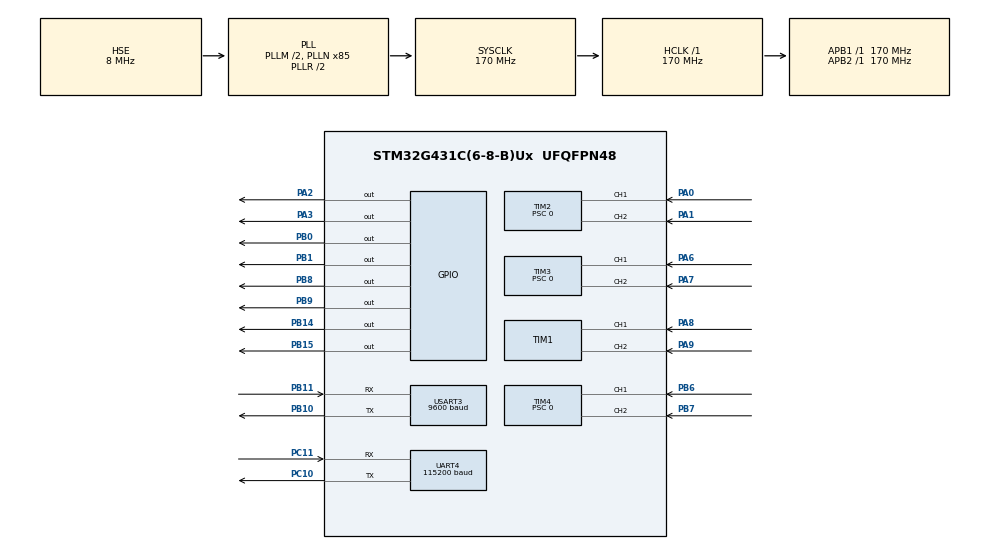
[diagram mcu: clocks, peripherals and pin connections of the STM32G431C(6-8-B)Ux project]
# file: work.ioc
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Dma.Request0=USART3_RX
Dma.Request1=USART3_TX
Dma.Request2=UART4_RX
Dma.Request3=UART4_TX
Dma.UART4_RX.2.Direction=DMA_PERIPH_TO_MEMORY
Dma.UART4_RX.2.EventEnable=DISABLE
Dma.UART4_RX.2.Instance=DMA1_Channel3
Dma.UART4_RX.2.MemDataAlignment=DMA_MDATAALIGN_BYTE
Dma.UART4_RX.2.MemInc=DMA_MINC_ENABLE
Dma.UART4_RX.2.Mode=DMA_NORMAL
Dma.UART4_RX.2.PeriphDataAlignment=DMA_PDATAALIGN_BYTE
Dma.UART4_RX.2.PeriphInc=DMA_PINC_DISABLE
Dma.UART4_RX.2.Polarity=HAL_DMAMUX_REQ_GEN_RISING
Dma.UART4_RX.2.Priority=DMA_PRIORITY_LOW
Dma.UART4_RX.2.RequestNumber=1
Dma.UART4_RX.2.SignalID=NONE
Dma.UART4_RX.2.SyncEnable=DISABLE
Dma.UART4_RX.2.SyncPolarity=HAL_DMAMUX_SYNC_NO_EVENT
Dma.UART4_RX.2.SyncRequestNumber=1
Dma.UART4_RX.2.SyncSignalID=NONE
Dma.UART4_TX.3.Direction=DMA_MEMORY_TO_PERIPH
Dma.UART4_TX.3.EventEnable=DISABLE
Dma.UART4_TX.3.Instance=DMA1_Channel4
Dma.UART4_TX.3.MemDataAlignment=DMA_MDATAALIGN_BYTE
Dma.UART4_TX.3.MemInc=DMA_MINC_ENABLE
Dma.UART4_TX.3.Mode=DMA_NORMAL
Dma.UART4_TX.3.PeriphDataAlignment=DMA_PDATAALIGN_BYTE
Dma.UART4_TX.3.PeriphInc=DMA_PINC_DISABLE
Dma.UART4_TX.3.Polarity=HAL_DMAMUX_REQ_GEN_RISING
Dma.UART4_TX.3.Priority=DMA_PRIORITY_LOW
Dma.UART4_TX.3.RequestNumber=1
Dma.UART4_TX.3.SignalID=NONE
Dma.UART4_TX.3.SyncEnable=DISABLE
Dma.UART4_TX.3.SyncPolarity=HAL_DMAMUX_SYNC_NO_EVENT
Dma.UART4_TX.3.SyncRequestNumber=1
Dma.UART4_TX.3.SyncSignalID=NONE
Dma.USART3_RX.0.Direction=DMA_PERIPH_TO_MEMORY
Dma.USART3_RX.0.EventEnable=DISABLE
Dma.USART3_RX.0.Instance=DMA1_Channel1
Dma.USART3_RX.0.MemDataAlignment=DMA_MDATAALIGN_BYTE
Dma.USART3_RX.0.MemInc=DMA_MINC_ENABLE
Dma.USART3_RX.0.Mode=DMA_NORMAL
Dma.USART3_RX.0.PeriphDataAlignment=DMA_PDATAALIGN_BYTE
Dma.USART3_RX.0.PeriphInc=DMA_PINC_DISABLE
Dma.USART3_RX.0.Polarity=HAL_DMAMUX_REQ_GEN_RISING
Dma.USART3_RX.0.Priority=DMA_PRIORITY_LOW
Dma.USART3_RX.0.RequestNumber=1
Dma.USART3_RX.0.SignalID=NONE
Dma.USART3_RX.0.SyncEnable=DISABLE
Dma.USART3_RX.0.SyncPolarity=HAL_DMAMUX_SYNC_NO_EVENT
Dma.USART3_RX.0.SyncRequestNumber=1
Dma.USART3_RX.0.SyncSignalID=NONE
Dma.USART3_TX.1.Direction=DMA_MEMORY_TO_PERIPH
Dma.USART3_TX.1.EventEnable=DISABLE
Dma.USART3_TX.1.Instance=DMA1_Channel2
Dma.USART3_TX.1.MemDataAlignment=DMA_MDATAALIGN_BYTE
Dma.USART3_TX.1.MemInc=DMA_MINC_ENABLE
Dma.USART3_TX.1.Mode=DMA_NORMAL
Dma.USART3_TX.1.PeriphDataAlignment=DMA_PDATAALIGN_BYTE
Dma.USART3_TX.1.PeriphInc=DMA_PINC_DISABLE
Dma.USART3_TX.1.Polarity=HAL_DMAMUX_REQ_GEN_RISING
Dma.USART3_TX.1.Priority=DMA_PRIORITY_LOW
Dma.USART3_TX.1.RequestNumber=1
Dma.USART3_TX.1.SignalID=NONE
Dma.USART3_TX.1.SyncEnable=DISABLE
Dma.USART3_TX.1.SyncPolarity=HAL_DMAMUX_SYNC_NO_EVENT
Dma.USART3_TX.1.SyncRequestNumber=1
Dma.USART3_TX.1.SyncSignalID=NONE
Mcu.Family=STM32G4
Mcu.Name=STM32G431C(6-8-B)Ux
Mcu.Package=UFQFPN48
NVIC.DMA1_Channel1_IRQn=true\:0\:0\:false\:false\:true\:false\:true\:true
NVIC.DMA1_Channel2_IRQn=true\:0\:0\:false\:false\:true\:false\:true\:true
NVIC.DMA1_Channel3_IRQn=true\:0\:0\:false\:false\:true\:false\:true\:true
NVIC.DMA1_Channel4_IRQn=true\:0\:0\:false\:false\:true\:false\:true\:true
NVIC.PriorityGroup=NVIC_PRIORITYGROUP_4
NVIC.TIM6_DAC_IRQn=true\:0\:0\:false\:false\:true\:true\:true\:true
NVIC.TIM7_IRQn=true\:0\:0\:false\:false\:true\:true\:true\:true
NVIC.UART4_IRQn=true\:0\:0\:false\:false\:true\:true\:true\:true
NVIC.USART3_IRQn=true\:0\:0\:false\:false\:true\:true\:true\:true
PA0.Signal=S_TIM2_CH1
PA1.Signal=S_TIM2_CH2
PA13.Mode=Serial_Wire
PA13.Signal=SYS_JTMS-SWDIO
PA14.Mode=Serial_Wire
PA14.Signal=SYS_JTCK-SWCLK
PA2.Signal=GPIO_Output
PA3.Signal=GPIO_Output
PA6.Signal=S_TIM3_CH1
PA7.Signal=S_TIM3_CH2
PA8.Signal=S_TIM1_CH1
PA9.Signal=S_TIM1_CH2
PB0.Signal=GPIO_Output
PB1.Signal=GPIO_Output
PB10.Mode=Asynchronous
PB10.Signal=USART3_TX
PB11.Mode=Asynchronous
PB11.Signal=USART3_RX
PB14.Signal=GPIO_Output
PB15.Signal=GPIO_Output
PB6.Signal=S_TIM4_CH1
PB7.Signal=S_TIM4_CH2
PB8-BOOT0.Signal=GPIO_Output
PB9.Signal=GPIO_Output
PC10.Mode=Asynchronous
PC10.Signal=UART4_TX
PC11.Mode=Asynchronous
PC11.Signal=UART4_RX
PF0-OSC_IN.Mode=HSE-External-Oscillator
PF0-OSC_IN.Signal=RCC_OSC_IN
PF1-OSC_OUT.Mode=HSE-External-Oscillator
PF1-OSC_OUT.Signal=RCC_OSC_OUT
ProjectManager.HeapSize=0x200
ProjectManager.StackSize=0x400
ProjectManager.TargetToolchain=MDK-ARM V5.32
RCC.ADC12Freq_Value=170000000
RCC.AHBFreq_Value=170000000
RCC.APB1Freq_Value=170000000
RCC.APB1TimFreq_Value=170000000
RCC.APB2Freq_Value=170000000
RCC.APB2TimFreq_Value=170000000
RCC.CortexFreq_Value=170000000
RCC.EXTERNAL_CLOCK_VALUE=12288000
RCC.HCLKFreq_Value=170000000
RCC.HSE_VALUE=8000000
RCC.HSI48_VALUE=48000000
RCC.HSI_VALUE=16000000
RCC.LSE_VALUE=32768
RCC.PLLM=RCC_PLLM_DIV2
RCC.PLLN=85
RCC.PLLSourceVirtual=RCC_PLLSOURCE_HSE
RCC.SYSCLKFreq_VALUE=170000000
RCC.SYSCLKSource=RCC_SYSCLKSOURCE_PLLCLK
RCC.USBFreq_Value=170000000
RCC.VCOOutputFreq_Value=340000000
SH.S_TIM1_CH1.0=TIM1_CH1,Encoder_Interface
SH.S_TIM1_CH2.0=TIM1_CH2,Encoder_Interface
SH.S_TIM2_CH1.0=TIM2_CH1,Encoder_Interface
SH.S_TIM2_CH2.0=TIM2_CH2,Encoder_Interface
SH.S_TIM3_CH1.0=TIM3_CH1,Encoder_Interface
SH.S_TIM3_CH2.0=TIM3_CH2,Encoder_Interface
SH.S_TIM4_CH1.0=TIM4_CH1,Encoder_Interface
SH.S_TIM4_CH2.0=TIM4_CH2,Encoder_Interface
TIM15.PeriodNoDither=99
TIM15.Prescaler=1699
TIM2.EncoderMode=TIM_ENCODERMODE_TI1
TIM2.IC1Polarity=TIM_ICPOLARITY_RISING
TIM2.PeriodNoDither=65535
TIM2.Prescaler=0
TIM3.PeriodNoDither=65535
TIM3.Prescaler=0
TIM4.EncoderMode=TIM_ENCODERMODE_TI1
TIM4.IC1Polarity=TIM_ICPOLARITY_FALLING
TIM4.PeriodNoDither=65535
TIM4.Prescaler=0
TIM6.PeriodNoDither=1000-1
TIM6.Prescaler=17-1
TIM7.PeriodNoDither=100-1
TIM7.Prescaler=17000-1
UART4.BaudRate=115200
USART3.BaudRate=9600
USART3.VirtualMode-Asynchronous=VM_ASYNC
VP_SYS_VS_DBSignals.Mode=DisableDeadBatterySignals
VP_TIM15_VS_ClockSourceINT.Mode=Internal
VP_TIM17_VS_ClockSourceINT.Mode=Enable_Timer
VP_TIM6_VS_ClockSourceINT.Mode=Enable_Timer
VP_TIM7_VS_ClockSourceINT.Mode=Enable_Timer
board=custom

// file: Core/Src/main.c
/* USER CODE BEGIN Header */
/**
  ******************************************************************************
  * @file           : main.c
  * @brief          : Main program body
  ******************************************************************************
  * @attention
  *
  * Copyright (c) 2025 STMicroelectronics.
  * All rights reserved.
  *
  * This software is licensed under terms that can be found in the LICENSE file
  * in the root directory of this software component.
  * If no LICENSE file comes with this software, it is provided AS-IS.
  *
  ******************************************************************************
  */
/* USER CODE END Header */
#include "main.h"
#include "dma.h"
#include "tim.h"
#include "usart.h"
#include "gpio.h"

/* USER CODE BEGIN Includes */
#include "MW_Control.h"
#include "bt_control.h"
#include "string.h"
#include "stdio.h"
#include "simpwm.h"
#include "pid.h"
#include "encoder.h"
/* USER CODE END Includes */

/* USER CODE BEGIN PV */
char msg,temp[100];
Bt_Data_Typedef rx_data;
PWM_Typedef motorA1,motorA2,motorB1,motorB2;
int encoder;
ENC_Typedef encoderA1,encoderA2,encoderB1,encoderB2;
PID_Typedef pidA1,pidA2,pidB1,pidB2;
/* USER CODE END PV */

void SystemClock_Config(void);

/* USER CODE BEGIN 0 */
void HAL_UART_RxCpltCallback(UART_HandleTypeDef *huart){

	if(huart == BT_UART){
		if(BT_Read(msg, &rx_data)){
		//	char buffer[50];
		//	sprintf(buffer,"X%d,Y%d,Turn%d",rx_data.x,rx_data.y,rx_data.turn);
		//	HAL_UART_Transmit(&huart4,(uint8_t *)buffer,strlen(buffer),HAL_MAX_DELAY);
//			BT_Compute(&rx_data);
//			sprintf(temp,"%d,%d\n",rx_data.x,rx_data.y);
//			HAL_UART_Transmit_DMA(&huart4,(uint8_t *)temp,strlen(temp));
			MW_Control(rx_data);
		}
		HAL_UART_Receive_DMA(BT_UART,(uint8_t *)&msg,1);

	}
}
void HAL_TIM_PeriodElapsedCallback(TIM_HandleTypeDef *htim){
	if(htim == &htim7){
		ENC_Get(&encoderA1);
		ENC_Get(&encoderA2);
		ENC_Get(&encoderB1);
		ENC_Get(&encoderB2);
		if(encoderA1.encoder > 30000) encoderA1.encoder = encoderA1.encoder - 65535;
		if(encoderA2.encoder > 30000) encoderA2.encoder = encoderA2.encoder - 65535;
		if(encoderB1.encoder > 30000) encoderB1.encoder = encoderB1.encoder - 65535;
		if(encoderB2.encoder > 30000) encoderB2.encoder = encoderB2.encoder - 65535;
		__HAL_TIM_SET_COUNTER(encoderA1.enc_tim,0);
		__HAL_TIM_SET_COUNTER(encoderA2.enc_tim,0);
		__HAL_TIM_SET_COUNTER(encoderB1.enc_tim,0);
		__HAL_TIM_SET_COUNTER(encoderB2.enc_tim,0);
		encoderA1.speed = encoderA1.encoder * 100.0f * 60 /1560.0f;
		encoderA2.speed = encoderA2.encoder * 100.0f * 60 /1560.0f;
		encoderB1.speed = encoderB1.encoder * 100.0f * 60 /1560.0f;
		encoderB2.speed = encoderB2.encoder * 100.0f * 60 /1560.0f;
		encoderA1.encoder = 0;
		encoderA2.encoder = 0;
		encoderB1.encoder = 0;
		encoderB2.encoder = 0;
		PID_Compute(&pidA1,encoderA1.speed);
		PID_Compute(&pidA2,encoderA2.speed);
		PID_Compute(&pidB1,encoderB1.speed);
		PID_Compute(&pidB2,encoderB2.speed);

		if(pidA1.output > 0) SIMPWM_SET_CRR(&motorA1,pidA1.output,0);
		else SIMPWM_SET_CRR(&motorA1,0,-pidA1.output);

		if(pidA2.output >= 0) SIMPWM_SET_CRR(&motorA2,pidA2.output,0);
		else SIMPWM_SET_CRR(&motorA2,0,-pidA2.output);

		if(pidB1.output >= 0) SIMPWM_SET_CRR(&motorB1,pidB1.output,0);
		else SIMPWM_SET_CRR(&motorB1,0,-pidB1.output);

		if(pidB2.output >= 0) SIMPWM_SET_CRR(&motorB2,pidB2.output,0);
		else SIMPWM_SET_CRR(&motorB2,0,-pidB2.output);

		sprintf(temp,"%.2f,%.2f,%.2f\n",encoderA1.speed,pidA1.setpoint,pidA2.integral);
		HAL_UART_Transmit_DMA(&huart4,(uint8_t *)temp,strlen(temp));
	}
}
/* USER CODE END 0 */

int main(void)
{

  /* MCU Configuration--------------------------------------------------------*/

  /* Reset of all peripherals, Initializes the Flash interface and the Systick. */
  HAL_Init();

  /* Configure the system clock */
  SystemClock_Config();

  /* Initialize all configured peripherals */
  MX_GPIO_Init();
  MX_DMA_Init();
  MX_TIM1_Init();
  MX_TIM2_Init();
  MX_TIM3_Init();
  MX_TIM4_Init();
  MX_TIM15_Init();
  MX_TIM6_Init();
  MX_TIM7_Init();
  MX_TIM17_Init();
  MX_USART3_UART_Init();
  MX_UART4_Init();
  /* USER CODE BEGIN 2 */
	//MW_Init();
	char a[] = "Hello";
	HAL_UART_Transmit(&huart4,(uint8_t *)a,strlen(a),HAL_MAX_DELAY);
	BT_Init();
	ENC_Init(&encoderA1,&htim1);
	ENC_Init(&encoderA2,&htim4);
	ENC_Init(&encoderB1,&htim3);
	ENC_Init(&encoderB2,&htim2);
	PID_Init(&pidA1,27.f,0.f,0.f,0.01f,1000.f,999.f);
	PID_Init(&pidA2,10.f,0.f,0.f,0.01f,700.f,999.f);
	PID_Init(&pidB1,0.f,0.f,0.f,0.01f,700.f,999.f);
	PID_Init(&pidB2,0.f,0.f,0.f,0.01f,700.f,999.f);
	HAL_TIM_Base_Start_IT(&htim7);
	SIMPWM_Init(&motorA1,0,0,GPIOB,GPIO_PIN_14,GPIOB,GPIO_PIN_15);
	SIMPWM_Init(&motorA2,0,0,GPIOB,GPIO_PIN_9,GPIOB,GPIO_PIN_8);
	SIMPWM_Init(&motorB1,0,0,GPIOB,GPIO_PIN_0,GPIOB,GPIO_PIN_1);
	SIMPWM_Init(&motorB2,0,0,GPIOA,GPIO_PIN_2,GPIOA,GPIO_PIN_3);
//	__HAL_TIM_SET_COMPARE(MORTOR_B1,MORTOR_B1_IN1,50);
//	__HAL_TIM_SET_COMPARE(MORTOR_B1,MORTOR_B1_IN2,50);
	HAL_UART_Receive_DMA(BT_UART,(uint8_t *)&msg,1);

  /* USER CODE END 2 */

  /* Infinite loop */
  /* USER CODE BEGIN WHILE */
  while (1)
  {
		SIMPWM_Run(&motorA1,__HAL_TIM_GET_COUNTER(&htim6));
		SIMPWM_Run(&motorA2,__HAL_TIM_GET_COUNTER(&htim6));
		SIMPWM_Run(&motorB1,__HAL_TIM_GET_COUNTER(&htim6));
		SIMPWM_Run(&motorB2,__HAL_TIM_GET_COUNTER(&htim6));
    /* USER CODE END WHILE */

  }
}

void SystemClock_Config(void)
{
  RCC_OscInitTypeDef RCC_OscInitStruct = {0};
  RCC_ClkInitTypeDef RCC_ClkInitStruct = {0};

  /** Configure the main internal regulator output voltage
  */
  HAL_PWREx_ControlVoltageScaling(PWR_REGULATOR_VOLTAGE_SCALE1_BOOST);

  /** Initializes the RCC Oscillators according to the specified parameters
  * in the RCC_OscInitTypeDef structure.
  */
  RCC_OscInitStruct.OscillatorType = RCC_OSCILLATORTYPE_HSE;
  RCC_OscInitStruct.HSEState = RCC_HSE_ON;
  RCC_OscInitStruct.PLL.PLLState = RCC_PLL_ON;
  RCC_OscInitStruct.PLL.PLLSource = RCC_PLLSOURCE_HSE;
  RCC_OscInitStruct.PLL.PLLM = RCC_PLLM_DIV2;
  RCC_OscInitStruct.PLL.PLLN = 85;
  RCC_OscInitStruct.PLL.PLLP = RCC_PLLP_DIV2;
  RCC_OscInitStruct.PLL.PLLQ = RCC_PLLQ_DIV2;
  RCC_OscInitStruct.PLL.PLLR = RCC_PLLR_DIV2;
  if (HAL_RCC_OscConfig(&RCC_OscInitStruct) != HAL_OK)
  {
    Error_Handler();
  }

  /** Initializes the CPU, AHB and APB buses clocks
  */
  RCC_ClkInitStruct.ClockType = RCC_CLOCKTYPE_HCLK|RCC_CLOCKTYPE_SYSCLK
                              |RCC_CLOCKTYPE_PCLK1|RCC_CLOCKTYPE_PCLK2;
  RCC_ClkInitStruct.SYSCLKSource = RCC_SYSCLKSOURCE_PLLCLK;
  RCC_ClkInitStruct.AHBCLKDivider = RCC_SYSCLK_DIV1;
  RCC_ClkInitStruct.APB1CLKDivider = RCC_HCLK_DIV1;
  RCC_ClkInitStruct.APB2CLKDivider = RCC_HCLK_DIV1;

  if (HAL_RCC_ClockConfig(&RCC_ClkInitStruct, FLASH_LATENCY_4) != HAL_OK)
  {
    Error_Handler();
  }
}

void Error_Handler(void)
{
  __disable_irq();
  while (1)
  {
  }
}
